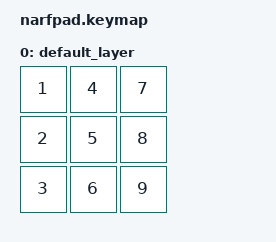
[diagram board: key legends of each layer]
#include <behaviors.dtsi>
#include <dt-bindings/zmk/keys.h>

/ {
    keymap {
        compatible = "zmk,keymap";

        default_layer {
            bindings = <
                &kp N1  &kp N4  &kp N7
                &kp N2  &kp N5  &kp N8
                &kp N3  &kp N6  &kp N9
            >;
        };
    };
};
